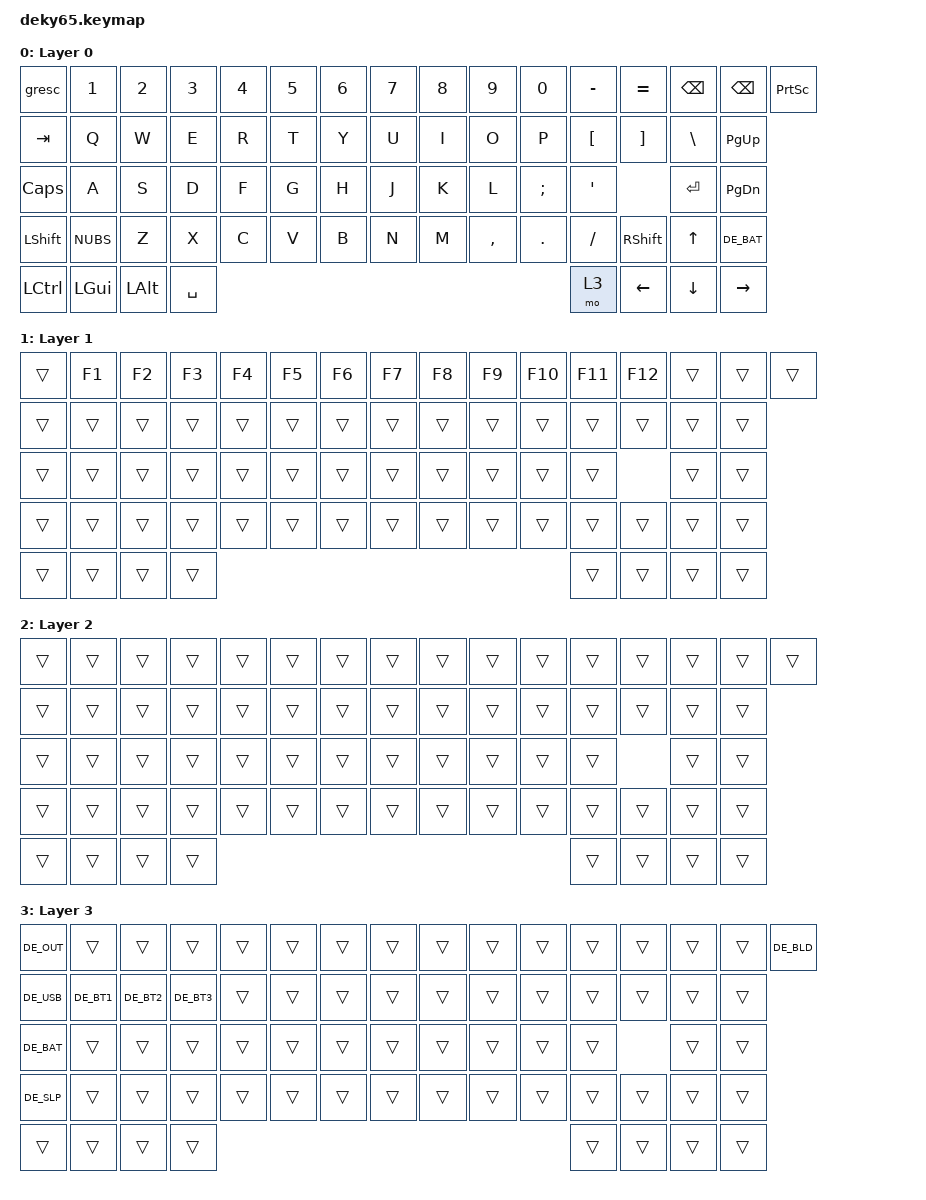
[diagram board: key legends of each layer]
#include "../common.keymap"

/ {
    keymap {
        compatible = "zmk,keymap";

        default_layer {
            label = "Layer 0";
            bindings = <
&gresc    &kp N1   &kp N2   &kp N3   &kp N4   &kp N5   &kp N6   &kp N7   &kp N8   &kp N9    &kp N0   &kp MINUS &kp EQUAL &kp BSPC  &kp BSPC   &kp PSCRN
&kp TAB   &kp Q    &kp W    &kp E    &kp R    &kp T    &kp Y    &kp U    &kp I    &kp O     &kp P    &kp LBKT  &kp RBKT  &kp BSLH  &kp PG_UP
&kp CLCK  &kp A    &kp S    &kp D    &kp F    &kp G    &kp H    &kp J    &kp K    &kp L     &kp SEMI &kp SQT             &kp ENTER &kp PG_DN
&kp LSHFT &kp NUBS &kp Z    &kp X    &kp C    &kp V    &kp B    &kp N    &kp M    &kp COMMA &kp DOT  &kp FSLH  &kp RSHFT &kp UP    &DE_BAT
&kp LCTRL &kp LGUI &kp LALT                               &kp SPACE                                  &mo 3     &kp LEFT  &kp DOWN  &kp RIGHT
            >;
        };

        layer_1 {
            label = "Layer 1";
            bindings = <
&trans &kp F1 &kp F2 &kp F3 &kp F4 &kp F5 &kp F6 &kp F7 &kp F8 &kp F9 &kp F10 &kp F11 &kp F12 &trans  &trans  &trans
&trans &trans &trans &trans &trans &trans &trans &trans &trans &trans &trans  &trans  &trans  &trans  &trans
&trans &trans &trans &trans &trans &trans &trans &trans &trans &trans &trans  &trans          &trans  &trans
&trans &trans &trans &trans &trans &trans &trans &trans &trans &trans &trans  &trans  &trans  &trans  &trans
&trans &trans &trans                                &trans                    &trans  &trans  &trans  &trans
            >;
        };

        layer_2 {
            label = "Layer 2";
            bindings = <
&trans &trans &trans &trans &trans &trans &trans &trans &trans &trans &trans &trans &trans &trans &trans &trans
&trans &trans &trans &trans &trans &trans &trans &trans &trans &trans &trans &trans &trans &trans &trans
&trans &trans &trans &trans &trans &trans &trans &trans &trans &trans &trans &trans        &trans &trans
&trans &trans &trans &trans &trans &trans &trans &trans &trans &trans &trans &trans &trans &trans &trans
&trans &trans &trans                                &trans                   &trans &trans &trans &trans
            >;
        };

        layer_3 {
            label = "Layer 3";
            bindings = <
&DE_OUT   &trans   &trans   &trans   &trans   &trans   &trans   &trans   &trans   &trans   &trans   &trans   &trans   &trans   &trans   &DE_BLD
&DE_USB   &DE_BT1  &DE_BT2  &DE_BT3  &trans   &trans   &trans   &trans   &trans   &trans   &trans   &trans   &trans   &trans   &trans
&DE_BAT   &trans   &trans   &trans   &trans   &trans   &trans   &trans   &trans   &trans   &trans   &trans            &trans   &trans
&DE_SLP   &trans   &trans   &trans   &trans   &trans   &trans   &trans   &trans   &trans   &trans   &trans   &trans   &trans   &trans
&trans    &trans   &trans                                   &trans                                  &trans   &trans   &trans   &trans
            >;
        };

        layer_4 { status = "reserved"; };
        layer_5 { status = "reserved"; };
    };
};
